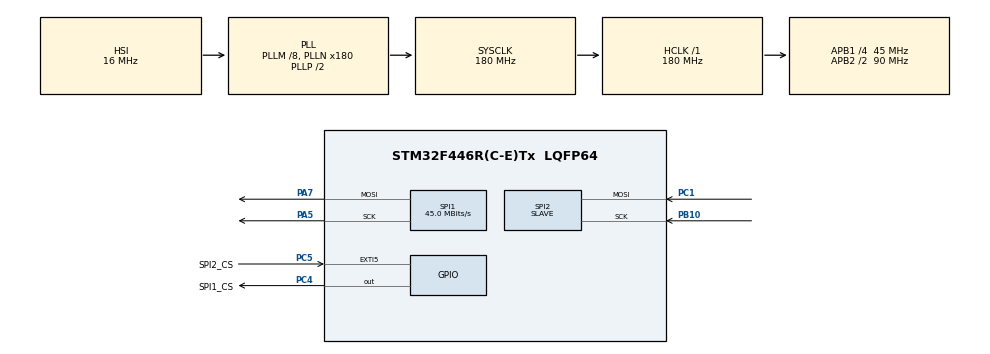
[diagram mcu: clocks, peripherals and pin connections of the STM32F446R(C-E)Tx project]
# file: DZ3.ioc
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Mcu.Family=STM32F4
Mcu.Name=STM32F446R(C-E)Tx
Mcu.Package=LQFP64
NVIC.EXTI9_5_IRQn=true\:1\:0\:true\:false\:true\:true\:true\:true
NVIC.PriorityGroup=NVIC_PRIORITYGROUP_4
NVIC.SPI2_IRQn=true\:0\:0\:false\:false\:true\:true\:true\:true
PA13.Mode=Serial_Wire
PA13.Signal=SYS_JTMS-SWDIO
PA14.Mode=Serial_Wire
PA14.Signal=SYS_JTCK-SWCLK
PA5.Mode=TX_Only_Simplex_Unidirect_Master
PA5.Signal=SPI1_SCK
PA7.Mode=TX_Only_Simplex_Unidirect_Master
PA7.Signal=SPI1_MOSI
PB10.Mode=RX_Only_Simplex_Unidirect_Slave
PB10.Signal=SPI2_SCK
PC1.Mode=RX_Only_Simplex_Unidirect_Slave
PC1.Signal=SPI2_MOSI
PC4.GPIO_Label=SPI1_CS
PC4.PinState=GPIO_PIN_SET
PC4.Signal=GPIO_Output
PC5.GPIO_Label=SPI2_CS
PC5.GPIO_ModeDefaultEXTI=GPIO_MODE_IT_RISING_FALLING
PC5.Signal=GPXTI5
ProjectManager.HeapSize=0x200
ProjectManager.StackSize=0x400
ProjectManager.TargetToolchain=STM32CubeIDE
RCC.AHBFreq_Value=180000000
RCC.APB1CLKDivider=RCC_HCLK_DIV4
RCC.APB1Freq_Value=45000000
RCC.APB1TimFreq_Value=90000000
RCC.APB2CLKDivider=RCC_HCLK_DIV2
RCC.APB2Freq_Value=90000000
RCC.APB2TimFreq_Value=180000000
RCC.CortexFreq_Value=180000000
RCC.HCLKFreq_Value=180000000
RCC.PLLM=8
RCC.PLLN=180
RCC.SYSCLKFreq_VALUE=180000000
RCC.SYSCLKSource=RCC_SYSCLKSOURCE_PLLCLK
RCC.USBFreq_Value=180000000
RCC.VCOOutputFreq_Value=360000000
SPI1.CalculateBaudRate=45.0 MBits/s
SPI1.Direction=SPI_DIRECTION_2LINES
SPI1.Mode=SPI_MODE_MASTER
SPI1.VirtualType=VM_MASTER
SPI2.Direction=SPI_DIRECTION_2LINES_RXONLY
SPI2.Mode=SPI_MODE_SLAVE
SPI2.VirtualType=VM_SLAVE
board=custom

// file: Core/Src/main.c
/* USER CODE BEGIN Header */
/**
  ******************************************************************************
  * @file           : main.c
  * @brief          : Main program body
  ******************************************************************************
  * @attention
  *
  * Copyright (c) 2026 STMicroelectronics.
  * All rights reserved.
  *
  * This software is licensed under terms that can be found in the LICENSE file
  * in the root directory of this software component.
  * If no LICENSE file comes with this software, it is provided AS-IS.
  *
  ******************************************************************************
  */
/* USER CODE END Header */
#include "main.h"

/* USER CODE BEGIN Includes */
#include "string.h"
/* USER CODE END Includes */

SPI_HandleTypeDef hspi1;
SPI_HandleTypeDef hspi2;

/* USER CODE BEGIN PV */
uint8_t cs_active = 0;
uint8_t txData[] = {0x77, 0x77};
uint8_t rxData[2] = {0};
uint8_t buffer[2] = {0};

/* USER CODE END PV */

void SystemClock_Config(void);
static void MX_GPIO_Init(void);
static void MX_SPI1_Init(void);
static void MX_SPI2_Init(void);

/* USER CODE BEGIN 0 */
void HAL_GPIO_EXTI_Callback(uint16_t GPIO_Pin)
{
	if (GPIO_Pin == SPI2_CS_Pin)
	{
		if (!cs_active)
			cs_active = 1;
		else
			cs_active = 0;
	}
}

void HAL_SPI_RxCpltCallback(SPI_HandleTypeDef *hspi)
{
  if (hspi->Instance == SPI2)
  {
	  if (cs_active)
	  {
		  memcpy(rxData, buffer, 2);
		  memset(buffer, 0, sizeof(buffer));
		  HAL_SPI_Receive_IT(&hspi2, buffer, 2);
	  }
  }
}
/* USER CODE END 0 */

int main(void)
{

  /* MCU Configuration--------------------------------------------------------*/

  /* Reset of all peripherals, Initializes the Flash interface and the Systick. */
  HAL_Init();

  /* Configure the system clock */
  SystemClock_Config();

  /* Initialize all configured peripherals */
  MX_GPIO_Init();
  MX_SPI1_Init();
  MX_SPI2_Init();
  /* USER CODE BEGIN 2 */

  HAL_SPI_Receive_IT(&hspi2, buffer, 2);
  HAL_GPIO_WritePin(SPI1_CS_GPIO_Port, SPI1_CS_Pin, GPIO_PIN_RESET);
  HAL_SPI_Transmit(&hspi1, txData, 2, HAL_MAX_DELAY);
  HAL_GPIO_WritePin(SPI1_CS_GPIO_Port, SPI1_CS_Pin, GPIO_PIN_SET);

  /* USER CODE END 2 */

  /* Infinite loop */
  while (1)
  {

  }
}

void SystemClock_Config(void)
{
  RCC_OscInitTypeDef RCC_OscInitStruct = {0};
  RCC_ClkInitTypeDef RCC_ClkInitStruct = {0};

  /** Configure the main internal regulator output voltage
  */
  __HAL_RCC_PWR_CLK_ENABLE();
  __HAL_PWR_VOLTAGESCALING_CONFIG(PWR_REGULATOR_VOLTAGE_SCALE1);

  /** Initializes the RCC Oscillators according to the specified parameters
  * in the RCC_OscInitTypeDef structure.
  */
  RCC_OscInitStruct.OscillatorType = RCC_OSCILLATORTYPE_HSI;
  RCC_OscInitStruct.HSIState = RCC_HSI_ON;
  RCC_OscInitStruct.HSICalibrationValue = RCC_HSICALIBRATION_DEFAULT;
  RCC_OscInitStruct.PLL.PLLState = RCC_PLL_ON;
  RCC_OscInitStruct.PLL.PLLSource = RCC_PLLSOURCE_HSI;
  RCC_OscInitStruct.PLL.PLLM = 8;
  RCC_OscInitStruct.PLL.PLLN = 180;
  RCC_OscInitStruct.PLL.PLLP = RCC_PLLP_DIV2;
  RCC_OscInitStruct.PLL.PLLQ = 2;
  RCC_OscInitStruct.PLL.PLLR = 2;
  if (HAL_RCC_OscConfig(&RCC_OscInitStruct) != HAL_OK)
  {
    Error_Handler();
  }

  /** Activate the Over-Drive mode
  */
  if (HAL_PWREx_EnableOverDrive() != HAL_OK)
  {
    Error_Handler();
  }

  /** Initializes the CPU, AHB and APB buses clocks
  */
  RCC_ClkInitStruct.ClockType = RCC_CLOCKTYPE_HCLK|RCC_CLOCKTYPE_SYSCLK
                              |RCC_CLOCKTYPE_PCLK1|RCC_CLOCKTYPE_PCLK2;
  RCC_ClkInitStruct.SYSCLKSource = RCC_SYSCLKSOURCE_PLLCLK;
  RCC_ClkInitStruct.AHBCLKDivider = RCC_SYSCLK_DIV1;
  RCC_ClkInitStruct.APB1CLKDivider = RCC_HCLK_DIV4;
  RCC_ClkInitStruct.APB2CLKDivider = RCC_HCLK_DIV2;

  if (HAL_RCC_ClockConfig(&RCC_ClkInitStruct, FLASH_LATENCY_5) != HAL_OK)
  {
    Error_Handler();
  }
}

static void MX_SPI1_Init(void)
{

  /* SPI1 parameter configuration*/
  hspi1.Instance = SPI1;
  hspi1.Init.Mode = SPI_MODE_MASTER;
  hspi1.Init.Direction = SPI_DIRECTION_2LINES;
  hspi1.Init.DataSize = SPI_DATASIZE_8BIT;
  hspi1.Init.CLKPolarity = SPI_POLARITY_LOW;
  hspi1.Init.CLKPhase = SPI_PHASE_1EDGE;
  hspi1.Init.NSS = SPI_NSS_SOFT;
  hspi1.Init.BaudRatePrescaler = SPI_BAUDRATEPRESCALER_2;
  hspi1.Init.FirstBit = SPI_FIRSTBIT_MSB;
  hspi1.Init.TIMode = SPI_TIMODE_DISABLE;
  hspi1.Init.CRCCalculation = SPI_CRCCALCULATION_DISABLE;
  hspi1.Init.CRCPolynomial = 10;
  if (HAL_SPI_Init(&hspi1) != HAL_OK)
  {
    Error_Handler();
  }

}

static void MX_SPI2_Init(void)
{

  /* SPI2 parameter configuration*/
  hspi2.Instance = SPI2;
  hspi2.Init.Mode = SPI_MODE_SLAVE;
  hspi2.Init.Direction = SPI_DIRECTION_2LINES_RXONLY;
  hspi2.Init.DataSize = SPI_DATASIZE_8BIT;
  hspi2.Init.CLKPolarity = SPI_POLARITY_LOW;
  hspi2.Init.CLKPhase = SPI_PHASE_1EDGE;
  hspi2.Init.NSS = SPI_NSS_SOFT;
  hspi2.Init.FirstBit = SPI_FIRSTBIT_MSB;
  hspi2.Init.TIMode = SPI_TIMODE_DISABLE;
  hspi2.Init.CRCCalculation = SPI_CRCCALCULATION_DISABLE;
  hspi2.Init.CRCPolynomial = 10;
  if (HAL_SPI_Init(&hspi2) != HAL_OK)
  {
    Error_Handler();
  }

}

static void MX_GPIO_Init(void)
{
  GPIO_InitTypeDef GPIO_InitStruct = {0};

  /* GPIO Ports Clock Enable */
  __HAL_RCC_GPIOC_CLK_ENABLE();
  __HAL_RCC_GPIOA_CLK_ENABLE();
  __HAL_RCC_GPIOB_CLK_ENABLE();

  /*Configure GPIO pin Output Level */
  HAL_GPIO_WritePin(SPI1_CS_GPIO_Port, SPI1_CS_Pin, GPIO_PIN_SET);

  /*Configure GPIO pin : SPI1_CS_Pin */
  GPIO_InitStruct.Pin = SPI1_CS_Pin;
  GPIO_InitStruct.Mode = GPIO_MODE_OUTPUT_PP;
  GPIO_InitStruct.Pull = GPIO_NOPULL;
  GPIO_InitStruct.Speed = GPIO_SPEED_FREQ_LOW;
  HAL_GPIO_Init(SPI1_CS_GPIO_Port, &GPIO_InitStruct);

  /*Configure GPIO pin : SPI2_CS_Pin */
  GPIO_InitStruct.Pin = SPI2_CS_Pin;
  GPIO_InitStruct.Mode = GPIO_MODE_IT_RISING_FALLING;
  GPIO_InitStruct.Pull = GPIO_NOPULL;
  HAL_GPIO_Init(SPI2_CS_GPIO_Port, &GPIO_InitStruct);

  /* EXTI interrupt init*/
  HAL_NVIC_SetPriority(EXTI9_5_IRQn, 1, 0);
  HAL_NVIC_EnableIRQ(EXTI9_5_IRQn);

}

void Error_Handler(void)
{
  __disable_irq();
  while (1)
  {
  }
}
